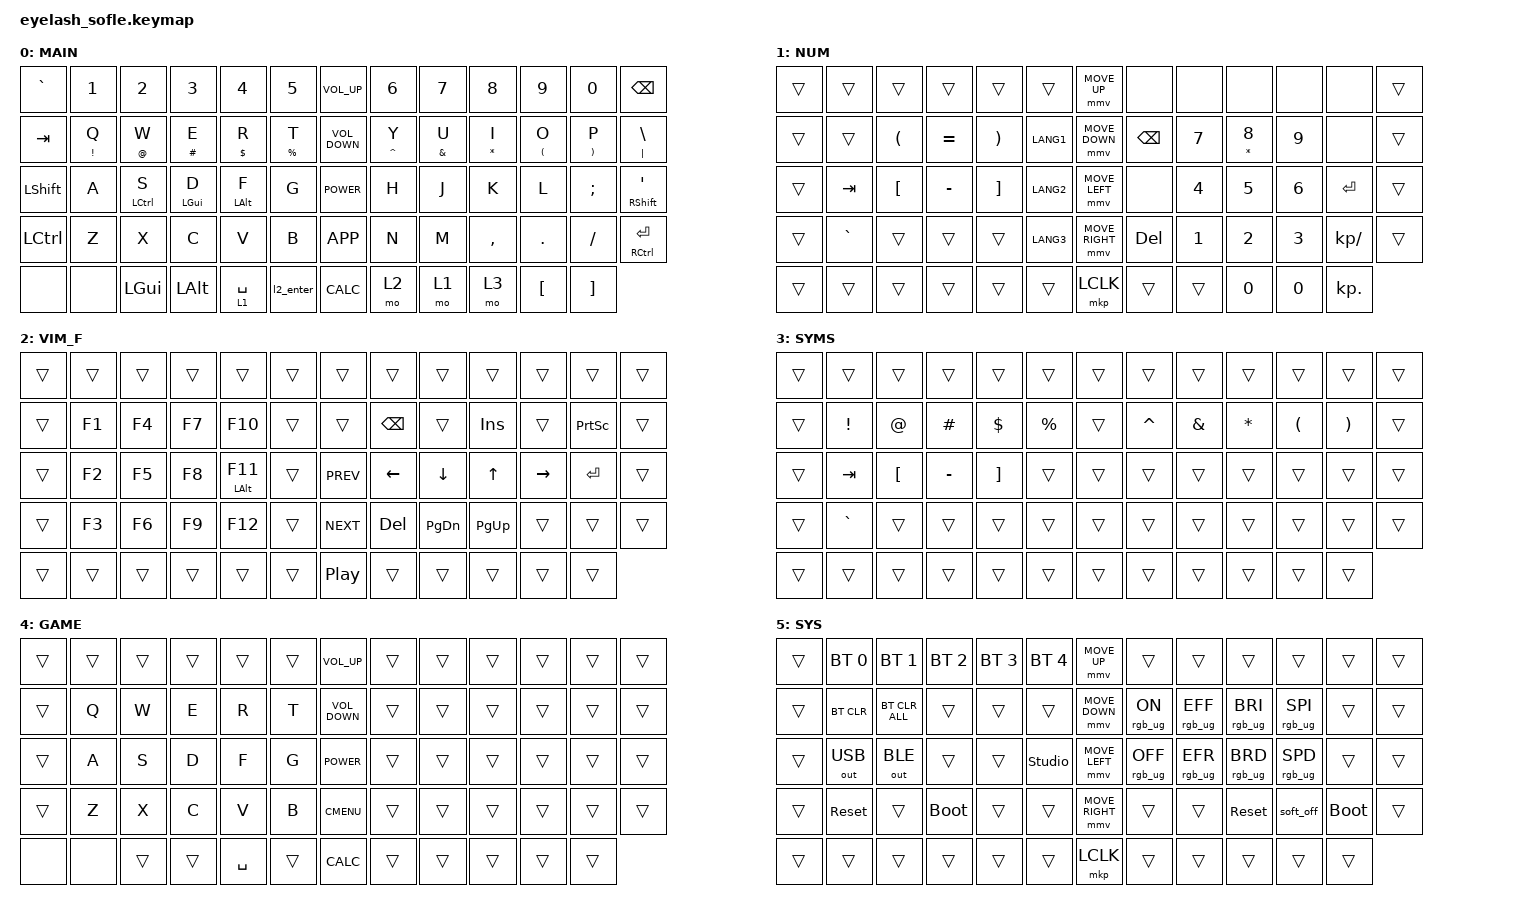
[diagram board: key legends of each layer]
#define ZMK_POINTING_DEFAULT_MOVE_VAL 1200  // 600
#define ZMK_POINTING_DEFAULT_SCRL_VAL 25   // 10

#include <input/processors.dtsi>
#include <zephyr/dt-bindings/input/input-event-codes.h>
#include <behaviors.dtsi>
#include <dt-bindings/zmk/bt.h>
#include <dt-bindings/zmk/keys.h>
#include <dt-bindings/zmk/outputs.h>
#include <dt-bindings/zmk/pointing.h>
#include <dt-bindings/zmk/rgb.h>

&mt {
    quick-tap-ms = <175>;
    flavor = "balanced";
};

&lt { quick-tap-ms = <175>; };

&msc {
    acceleration-exponent = <1>;      // 0
    time-to-max-speed-ms = <100>;       // 300
    delay-ms = <0>;                   // 0
};

&mmv {
    time-to-max-speed-ms = <500>;
    acceleration-exponent = <1>;
    trigger-period-ms = <16>;
};

&soft_off { hold-time-ms = <2000>; };

/ {
    esc_tilde: esc_tilde {
        compatible = "zmk,behavior-mod-morph";
        label = "ESC_TILDE";
        bindings = <&kp ESC>, <&kp TILDE>;

        #binding-cells = <0>;
        mods = <(MOD_LSFT|MOD_RSFT)>;
    };

    long_press: long_press {
        compatible = "zmk,behavior-hold-tap";
        label = "LONG_PRESS";
        bindings = <&kp>, <&kp>;

        #binding-cells = <2>;
        tapping-term-ms = <200>;
        quick-tap-ms = <0>;
        flavor = "tap-preferred";
    };

    fast_lt: fast_lt {
        compatible = "zmk,behavior-hold-tap";
        label = "FAST_LT";
        bindings = <&mo>, <&kp>;

        #binding-cells = <2>;
        flavor = "balanced";
        tapping-term-ms = <150>;
    };

    fast_mt: fast_mt {
        compatible = "zmk,behavior-hold-tap";
        label = "FAST_MT";
        bindings = <&kp>, <&kp>;

        #binding-cells = <2>;
        tapping-term-ms = <150>;
        flavor = "balanced";
    };

    l2_enter: l2_enter {
        compatible = "zmk,behavior-tap-dance";
        label = "L2_ENTER";
        #binding-cells = <0>;
        bindings = <&mo 2>, <&kp ENTER>;

        tapping-term-ms = <250>;
    };

    double_press: double_press {
        compatible = "zmk,behavior-tap-dance";
        label = "DOUBLE_PRESS";
        #binding-cells = <0>;
        tapping-term-ms = <250>;
        bindings = <&none>, <&none>;
    };

    behaviors {
    };

    combos {
        compatible = "zmk,combos";

        softoff {
            bindings = <&soft_off>;
            key-positions = <14 28 40>;
            layers = <5>;
        };

        Game_toggle {
            bindings = <&tog 4>;
            key-positions = <56 57 55>;
            layers = <0 4>;
        };

        L_SYS {
            bindings = <&mo 5>;
            key-positions = <53 54>;
        };

        eq_arrow {
            bindings = <&eq_arrow>;
            key-positions = <62 49>;
            layers = <0>;
        };

        arrow {
            bindings = <&arrow>;
            key-positions = <63 49>;
            layers = <0>;
        };

        c_end {
            bindings = <&kp END>;
            key-positions = <48 49>;
            require-prior-idle-ms = <120>;
        };

        c_home {
            bindings = <&kp HOME>;
            key-positions = <48 47>;
            require-prior-idle-ms = <120>;
        };

        combo_esc {
            bindings = <&kp ESC>;
            key-positions = <16 15 17>;
            require-prior-idle-ms = <200>;
        };

        combo_tab {
            bindings = <&kp TAB>;
            key-positions = <29 28 30>;
            require-prior-idle-ms = <200>;
            layers = <0>;
        };
    };

    macros {
        arrow: arrow {
            compatible = "zmk,behavior-macro";
            #binding-cells = <0>;
            bindings = <&kp MINUS &kp GT>;
            label = "ARROW";
        };

        eq_arrow: eq_arrow {
            compatible = "zmk,behavior-macro";
            #binding-cells = <0>;
            bindings = <&kp EQUAL &kp GT>;
            label = "EQ_ARROW";
        };
    };

    keymap {
        compatible = "zmk,keymap";

        QWERTY {
            bindings = <
&kp GRAVE       &kp N1              &kp N2            &kp N3              &kp N4              &kp N5                 &kp C_VOL_UP       &kp N6               &kp N7              &kp N8              &kp N9              &kp N0              &kp BACKSPACE
&kp TAB         &long_press EXCL Q  &long_press AT W  &long_press HASH E  &long_press DLLR R  &long_press PRCNT T    &kp C_VOLUME_DOWN  &long_press CARET Y  &long_press AMPS U  &long_press STAR I  &long_press LPAR O  &long_press RPAR P  &long_press PIPE BSLH
&kp LEFT_SHIFT  &kp A               &fast_mt LCTRL S  &fast_mt LGUI D     &fast_mt LALT F     &kp G                  &kp C_POWER        &kp H                &kp J               &kp K               &kp L               &kp SEMI            &fast_mt RSHIFT APOS
&kp LCTRL       &kp Z               &kp X             &kp C               &kp V               &kp B                  &kp K_APP          &kp N                &kp M               &kp COMMA           &kp DOT             &kp FSLH            &fast_mt RCTRL ENTER
&none           &none               &kp LEFT_GUI      &kp LEFT_ALT        &fast_lt 1 SPACE    &l2_enter              &kp K_CALC         &mo 2                &mo 1               &mo 3               &kp LBKT            &kp RBKT
            >;

            display-name = "MAIN";
        };

        NUMS_SYMS {
            bindings = <
&trans  &trans     &trans                &trans     &trans                 &trans       &mmv MOVE_UP     &none     &none   &none                &none   &none         &trans
&trans  &trans     &kp LEFT_PARENTHESIS  &kp EQUAL  &kp RIGHT_PARENTHESIS  &kp LANG1    &mmv MOVE_DOWN   &kp BSPC  &kp N7  &long_press STAR N8  &kp N9  &none         &trans
&trans  &kp TAB    &kp LBKT              &kp MINUS  &kp RBKT               &kp LANG2    &mmv MOVE_LEFT   &none     &kp N4  &kp N5               &kp N6  &kp ENTER     &trans
&trans  &kp GRAVE  &trans                &trans     &trans                 &kp LANG3    &mmv MOVE_RIGHT  &kp DEL   &kp N1  &kp N2               &kp N3  &kp KP_SLASH  &trans
&trans  &trans     &trans                &trans     &trans                 &trans       &mkp LCLK        &trans    &trans  &kp N0               &kp N0  &kp KP_DOT
            >;

            display-name = "NUM";
        };

        vim-mo_fun {
            bindings = <
&trans  &trans  &trans  &trans  &trans        &trans    &trans      &trans    &trans     &trans     &trans     &trans     &trans
&trans  &kp F1  &kp F4  &kp F7  &kp F10       &trans    &trans      &kp BSPC  &trans     &kp INS    &trans     &kp PSCRN  &trans
&trans  &kp F2  &kp F5  &kp F8  &mt LALT F11  &trans    &kp C_PREV  &kp LEFT  &kp DOWN   &kp UP     &kp RIGHT  &kp ENTER  &trans
&trans  &kp F3  &kp F6  &kp F9  &kp F12       &trans    &kp C_NEXT  &kp DEL   &kp PG_DN  &kp PG_UP  &trans     &trans     &trans
&trans  &trans  &trans  &trans  &trans        &trans    &kp C_PP    &trans    &trans     &trans     &trans     &trans
            >;

            display-name = "VIM_F";
        };

        syms {
            bindings = <
&trans  &trans     &trans    &trans     &trans    &trans       &trans  &trans     &trans    &trans    &trans    &trans    &trans
&trans  &kp EXCL   &kp AT    &kp HASH   &kp DLLR  &kp PRCNT    &trans  &kp CARET  &kp AMPS  &kp STAR  &kp LPAR  &kp RPAR  &trans
&trans  &kp TAB    &kp LBKT  &kp MINUS  &kp RBKT  &trans       &trans  &trans     &trans    &trans    &trans    &trans    &trans
&trans  &kp GRAVE  &trans    &trans     &trans    &trans       &trans  &trans     &trans    &trans    &trans    &trans    &trans
&trans  &trans     &trans    &trans     &trans    &trans       &trans  &trans     &trans    &trans    &trans    &trans
            >;

            label = "SYMS";
        };

        game {
            display-name = "GAME";
            bindings = <
&trans  &trans  &trans  &trans  &trans     &trans    &kp C_VOL_UP       &trans  &trans  &trans  &trans  &trans  &trans
&trans  &kp Q   &kp W   &kp E   &kp R      &kp T     &kp C_VOLUME_DOWN  &trans  &trans  &trans  &trans  &trans  &trans
&trans  &kp A   &kp S   &kp D   &kp F      &kp G     &kp C_POWER        &trans  &trans  &trans  &trans  &trans  &trans
&trans  &kp Z   &kp X   &kp C   &kp V      &kp B     &kp K_CMENU        &trans  &trans  &trans  &trans  &trans  &trans
&none   &none   &trans  &trans  &kp SPACE  &trans    &kp K_CALC         &trans  &trans  &trans  &trans  &trans
            >;
        };

        SYS {
            bindings = <
&trans  &bt BT_SEL 0  &bt BT_SEL 1    &bt BT_SEL 2  &bt BT_SEL 3  &bt BT_SEL 4      &mmv MOVE_UP     &trans           &trans           &trans           &trans           &trans       &trans
&trans  &bt BT_CLR    &bt BT_CLR_ALL  &trans        &trans        &trans            &mmv MOVE_DOWN   &rgb_ug RGB_ON   &rgb_ug RGB_EFF  &rgb_ug RGB_BRI  &rgb_ug RGB_SPI  &trans       &trans
&trans  &out OUT_USB  &out OUT_BLE    &trans        &trans        &studio_unlock    &mmv MOVE_LEFT   &rgb_ug RGB_OFF  &rgb_ug RGB_EFR  &rgb_ug RGB_BRD  &rgb_ug RGB_SPD  &trans       &trans
&trans  &sys_reset    &trans          &bootloader   &trans        &trans            &mmv MOVE_RIGHT  &trans           &trans           &sys_reset       &soft_off        &bootloader  &trans
&trans  &trans        &trans          &trans        &trans        &trans            &mkp LCLK        &trans           &trans           &trans           &trans           &trans
            >;

            display-name = "SYS";
        };
    };

    conditional_layers { compatible = "zmk,conditional-layers"; };
};
